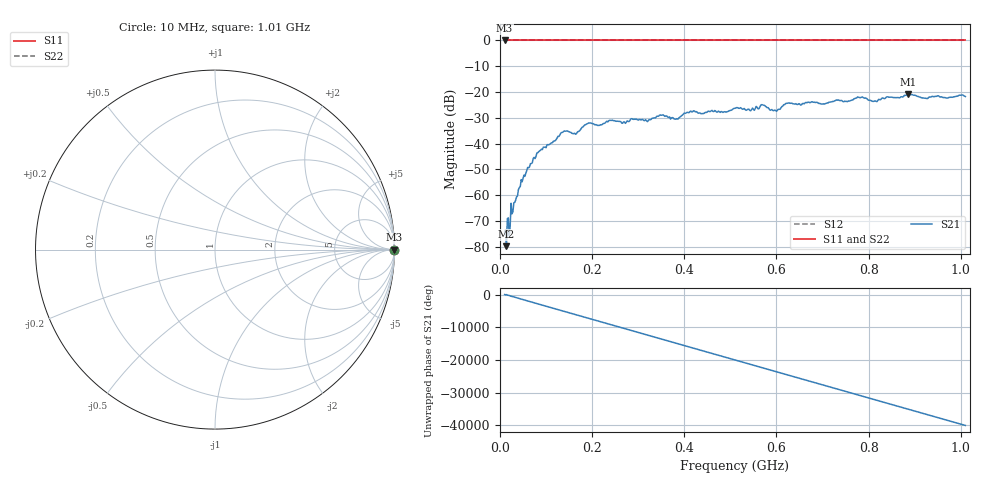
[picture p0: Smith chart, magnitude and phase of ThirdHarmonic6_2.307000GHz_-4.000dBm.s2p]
! 8/17/2025 3:10:25 AM
! C:\ANRITSUVNA\TEMP\TEMP.S2P
! CHANNEL.1
! TR.MEASUREMENT
! RAW.DATA
! RF.CORRECTION.OFF
! AVERAGING.OFF
! IF.BANDWIDTH: 5KHZ
! SWEEPTYPE:  FREQ.SWEEP(Linear)
! Reference Plane Port Info
! PORT:  PORT1  PORT2
! DISTANCE:  0  m  0  m
! TIME:  0  s  0  s
! PHASE.OFFSET:  0  deg.  0  deg.
! LOSS:  0  dB  0  dB
! REF.LOSS:  0  dB  0  dB
! REF.FREQ:  0  Hz  0  Hz
! Power Info
! POWER:  -20  dBm  -20  dBm
! EFF.POWER:  -20  dBm  -20  dBm
! SOURCE.ATTEN:  0  dB  0  dB
! TEST.ATTEN:  0  dB  0  dB
# GHZ S RI R 50.0
! FREQ.GHZ  S11RE  S11IM  S21RE  S21IM  S12RE  S12IM  S22RE  S22IM
!; PortSelection: Port_12
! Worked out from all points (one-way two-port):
!   501 points, 10 MHz to 1.01 GHz, reference 50 ohm
!   highest |S21| = -20.91 dB at 886 MHz (marker M1); lowest = -79.8 dB at 14 MHz (marker M2)
!   lowest |S11| = 0.0 dB at 10 MHz (marker M3)
!   |S11| at or under -10 dB: nowhere
!   |S22| runs from 0.0 to 0.0 dB; largest |S21 - S12| = 1.1
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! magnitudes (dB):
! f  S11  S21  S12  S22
! 10 MHz  0.0  -74.2  0.0  0.0
! 14 MHz  0.0  -79.8  0.0  0.0
! 18 MHz  0.0  -68.8  0.0  0.0
! 20 MHz  0.0  -75.6  0.0  0.0
! 24 MHz  0.0  -63.1  0.0  0.0
! 28 MHz  0.0  -66.4  0.0  0.0
! 48 MHz  0.0  -54.8  0.0  0.0
! 84 MHz  0.0  -43.1  0.0  0.0
! 136 MHz  0.0  -35.6  0.0  0.0
! 162 MHz  0.0  -36.0  0.0  0.0
! 178 MHz  0.0  -33.7  0.0  0.0
! 344 MHz  0.0  -29.4  0.0  0.0
! 382 MHz  0.0  -30.5  0.0  0.0
! 416 MHz  0.0  -27.7  0.0  0.0
! 510 MHz  0.0  -26.3  0.0  0.0
! 570 MHz  0.0  -25.0  0.0  0.0
! 598 MHz  0.0  -27.1  0.0  0.0
! 624 MHz  0.0  -24.3  0.0  0.0
! 678 MHz  0.0  -23.8  0.0  0.0
! 844 MHz  0.0  -22.0  0.0  0.0
! 886 MHz  0.0  -20.9  0.0  0.0
! 1.01 GHz  0.0  -21.7  0.0  0.0
